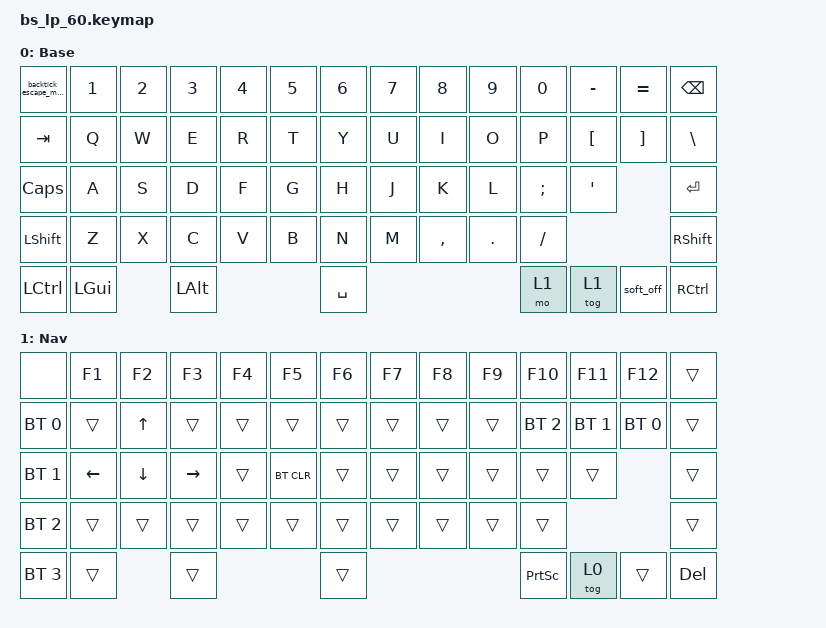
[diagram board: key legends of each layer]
/*
 * Copyright (c) 2021 Cole Smith
 *
 * SPDX-License-Identifier: MIT
 */

#include <dt-bindings/zmk/reset.h>
#include <behaviors.dtsi>
#include <dt-bindings/zmk/bt.h>
#include <dt-bindings/zmk/keys.h>

#define BAS_L 0
#define NAV_L 1

/ {
    behaviors {
        backtick_escape_morph: backtick_escape_morph {
            compatible = "zmk,behavior-mod-morph";
            label = "BACKTICK_ESCAPE_MORPH";
            bindings = <&kp GRAVE>, <&kp ESC>;

            #binding-cells = <0>;
            mods = <(MOD_LCTL)>;
        };
    };

    keymap {
        compatible = "zmk,keymap";

        default_layer {
            // ------------------------------------------------------------------------------------------
            // | ESC |  1  |  2  |  3  |  4  |  5  |  6  |  7  |  8  |  9  |  0  |  -  |  =  |   BKSP   |
            // | TAB  |  Q  |  W  |  E  |  R  |  T  |  Y  |  U  |  I  |  O  |  P  |  [  |  ]  |   "|"   |
            // | CAPS  |  A  |  S  |  D  |  F  |  G  |  H  |  J  |  K  |  L  |  ;  |  '  |     ENTER    |
            // |  SHIFT  |  Z  |  X  |  C  |  V  |  B  |  N  |  M  |  ,  |  .  |  /  |      SHIFT       |
            // |  CTL  |  WIN  |  ALT  |            SPACE              |  ALT  |  WIN  |  MO(1) |  CTL  |
            // ------------------------------------------------------------------------------------------

            label = "Base";
            bindings = <
&backtick_escape_morph  &kp N1    &kp N2  &kp N3    &kp N4  &kp N5  &kp N6     &kp N7  &kp N8     &kp N9   &kp N0    &kp MINUS  &kp EQUAL  &kp BSPC
&kp TAB                 &kp Q     &kp W   &kp E     &kp R   &kp T   &kp Y      &kp U   &kp I      &kp O    &kp P     &kp LBKT   &kp RBKT   &kp BSLH
&kp CLCK                &kp A     &kp S   &kp D     &kp F   &kp G   &kp H      &kp J   &kp K      &kp L    &kp SEMI  &kp SQT               &kp RET
&kp LSHFT               &kp Z     &kp X   &kp C     &kp V   &kp B   &kp N      &kp M   &kp COMMA  &kp DOT  &kp FSLH                        &kp RSHFT
&kp LCTRL               &kp LGUI          &kp LALT                  &kp SPACE                              &mo 1     &tog 1     &soft_off  &kp RCTRL
            >;
        };

        ble_layer {
            // ------------------------------------------------------------------------------------------------
            // | BT CLR | F1  | F2  | F3  | F4  | F5  | F6  | F7  | F8  | F9  | F10  | F11 | F12 |            |
            // |  BT 1   |   |  UP |   |       |       |       |       |   |     |    |     |     |           |
            // |   BT 2   | LT |  DN  | RT |       |       |       |       |   |     |   |     |              |
            // |    BT 3     |     |      |      |     |     |     |     |     |     |     |                  |
            // |   BT 4  |      |      |                                    | PRT SCR |       |       |  DEL  |
            // ------------------------------------------------------------------------------------------------

            label = "Nav";
            bindings = <
&none         &kp F1    &kp F2    &kp F3     &kp F4  &kp F5      &kp F6  &kp F7  &kp F8  &kp F9  &kp F10       &kp F11       &kp F12       &trans
&bt BT_SEL 0  &trans    &kp UP    &trans     &trans  &trans      &trans  &trans  &trans  &trans  &bt BT_SEL 2  &bt BT_SEL 1  &bt BT_SEL 0  &trans
&bt BT_SEL 1  &kp LEFT  &kp DOWN  &kp RIGHT  &trans  &bt BT_CLR  &trans  &trans  &trans  &trans  &trans        &trans                      &trans
&bt BT_SEL 2  &trans    &trans    &trans     &trans  &trans      &trans  &trans  &trans  &trans  &trans                                    &trans
&bt BT_SEL 3  &trans              &trans                         &trans                          &kp PSCRN     &tog 0        &trans        &kp DEL
            >;
        };
    };
};
